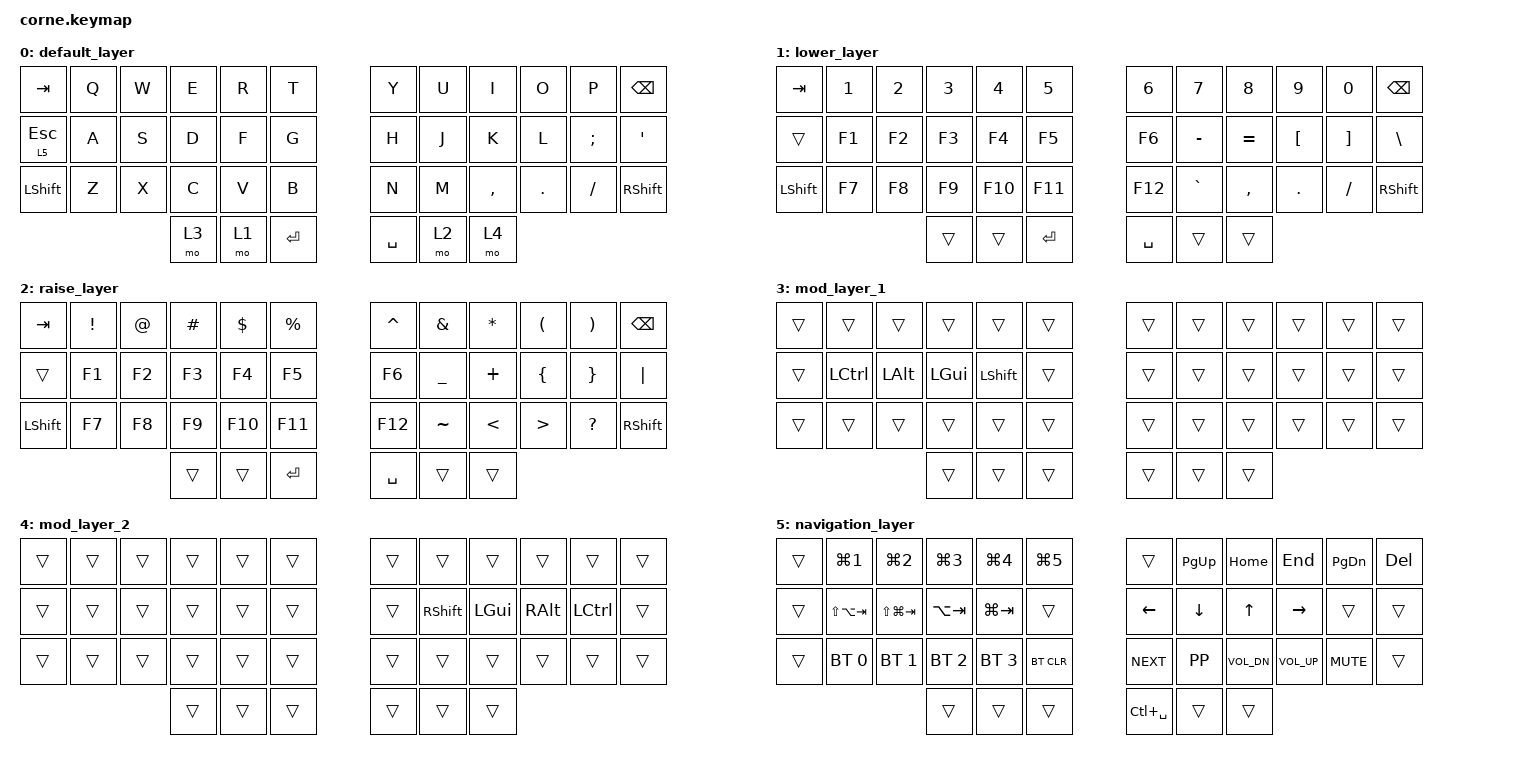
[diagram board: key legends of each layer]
/*
 * Copyright (c) 2020 The ZMK Contributors
 *
 * SPDX-License-Identifier: MIT
 */

#include <behaviors.dtsi>
#include <dt-bindings/zmk/keys.h>
#include <dt-bindings/zmk/bt.h>

/ {
        keymap {
                compatible = "zmk,keymap";

                default_layer {
                        bindings = <
   &kp TAB     &kp Q      &kp W     &kp E     &kp R      &kp T       &kp Y      &kp U      &kp I      &kp O     &kp P      &kp BSPC
   &lt 5 ESC   &kp A      &kp S     &kp D     &kp F      &kp G       &kp H      &kp J      &kp K      &kp L     &kp SEMI   &kp SQT
   &kp LSHFT   &kp Z      &kp X     &kp C     &kp V      &kp B       &kp N      &kp M      &kp COMMA  &kp DOT   &kp FSLH   &kp RSHFT
                                    &mo 3     &mo 1      &kp RET     &kp SPACE  &mo 2      &mo 4
                        >;
                };
                lower_layer {
                        bindings = <
   &kp TAB     &kp N1     &kp N2    &kp N3    &kp N4     &kp N5      &kp N6     &kp N7     &kp N8     &kp N9    &kp N0     &kp BSPC
   &trans      &kp F1     &kp F2    &kp F3    &kp F4     &kp F5      &kp F6     &kp MINUS  &kp EQUAL  &kp LBKT  &kp RBKT   &kp BSLH
   &kp LSHFT   &kp F7     &kp F8    &kp F9    &kp F10    &kp F11     &kp F12    &kp GRAVE  &kp COMMA  &kp DOT   &kp FSLH   &kp RSHFT
                                    &trans    &trans     &kp RET     &kp SPACE  &trans     &trans
                        >;
                };

                raise_layer {
                        bindings = <
   &kp TAB    &kp EXCL    &kp AT    &kp HASH  &kp DLLR   &kp PRCNT   &kp CARET  &kp AMPS   &kp STAR   &kp LPAR  &kp RPAR   &kp BSPC
   &trans     &kp F1      &kp F2    &kp F3    &kp F4     &kp F5      &kp F6     &kp UNDER  &kp PLUS   &kp LBRC  &kp RBRC   &kp PIPE
   &kp LSHFT  &kp F7      &kp F8    &kp F9    &kp F10    &kp F11     &kp F12    &kp TILDE  &kp LT     &kp GT    &kp QMARK  &kp RSHFT
                                    &trans    &trans     &kp RET     &kp SPACE  &trans     &trans
                        >;
                };

                mod_layer_1 {
                        bindings = <
   &trans     &trans      &trans    &trans    &trans     &trans      &trans     &trans     &trans     &trans    &trans     &trans
   &trans     &kp LCTRL   &kp LALT  &kp LGUI  &kp LSHFT  &trans      &trans     &trans     &trans     &trans    &trans     &trans
   &trans     &trans      &trans    &trans    &trans     &trans      &trans     &trans     &trans     &trans    &trans     &trans
                                    &trans    &trans     &trans      &trans     &trans     &trans
                        >;
                };
                
                mod_layer_2 {
                        bindings = <
   &trans     &trans      &trans    &trans    &trans     &trans      &trans     &trans     &trans     &trans    &trans     &trans
   &trans     &trans      &trans    &trans    &trans     &trans      &trans     &kp RSHFT  &kp LGUI   &kp RALT  &kp LCTRL  &trans
   &trans     &trans      &trans    &trans    &trans     &trans      &trans     &trans     &trans     &trans    &trans     &trans
                                    &trans    &trans     &trans      &trans     &trans     &trans
                        >;
                };
                
                navigation_layer {
                        bindings = <
   &trans     &kp LG(N1)      &kp LG(N2)       &kp LG(N3)   &kp LG(N4)   &kp LG(N5)  &trans     &kp PG_UP  &kp HOME     &kp END      &kp PG_DN  &kp DEL
   &trans     &kp LS(LA(TAB)) &kp LS(LG(TAB))  &kp LA(TAB)  &kp LG(TAB)  &trans      &kp LEFT   &kp DOWN   &kp UP       &kp RIGHT    &trans     &trans
   &trans     &bt BT_SEL 0    &bt BT_SEL 1     &bt BT_SEL 2 &bt BT_SEL 3 &bt BT_CLR  &kp K_NEXT &kp K_PP   &kp K_VOL_DN &kp K_VOL_UP &kp K_MUTE &trans
                                               &trans       &trans       &trans      &kp LC(SPACE)         &trans     &trans
                        >;
                };
        };
};


